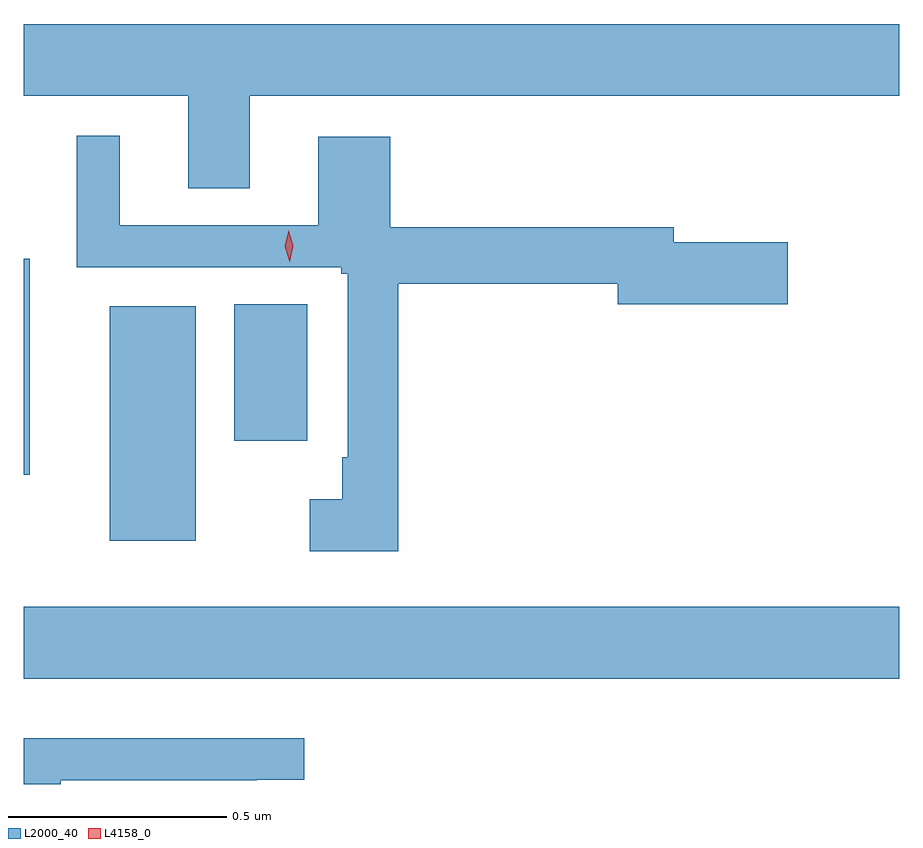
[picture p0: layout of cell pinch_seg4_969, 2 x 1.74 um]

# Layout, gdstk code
import gdstk
lib = gdstk.Library(unit=1e-6, precision=1e-09)
def R(c, l, rs):  # rectangles x0, y0, x1, y1
    for r in rs: c.add(gdstk.rectangle(r[:2], r[2:], *l))
def P(c, l, *ps):  # polygons
    for p in ps: c.add(gdstk.Polygon(p, *l))
L2000_40 = (2000, 40)
L4158_0 = (4158, 0)

pinch_seg4_969 = lib.new_cell('pinch_seg4_969')
R(pinch_seg4_969, L2000_40, [(699.229,751.532,701.229,751.696), (699.425,751.847,699.622,752.383), (699.229,751.998,699.242,752.491), (699.71,752.076,699.877,752.387)])
P(pinch_seg4_969, L2000_40, [(699.745,752.864),(701.229,752.864),(701.229,753.028),(699.229,753.028),(699.229,752.864),(699.605,752.864),(699.605,752.653),(699.745,752.653)],
  [(700.085,752.434),(700.586,752.434),(700.586,752.387),(700.975,752.387),(700.975,752.529),(700.714,752.529),(700.714,752.563),(700.066,752.563),(700.066,752.77),(699.902,752.77),(699.902,752.568),(699.448,752.568),(699.448,752.773),(699.35,752.773),(699.35,752.472),(699.954,752.472),(699.954,752.457),(699.969,752.457),(699.969,752.038),(699.957,752.038),(699.957,751.942),(699.882,751.942),(699.882,751.823),(700.085,751.823)],
  [(699.313,751.299),(699.761,751.299),(699.761,751.301),(699.87,751.301),(699.87,751.396),(699.229,751.396),(699.229,751.291),(699.313,751.291)])
P(pinch_seg4_969, L4158_0, [(699.837,752.484),(699.836,752.485),(699.825,752.52),(699.834,752.556),(699.834,752.557),(699.834,752.556),(699.845,752.521),(699.837,752.485)])

lib.write_gds('pinch_seg4_969.gds')
